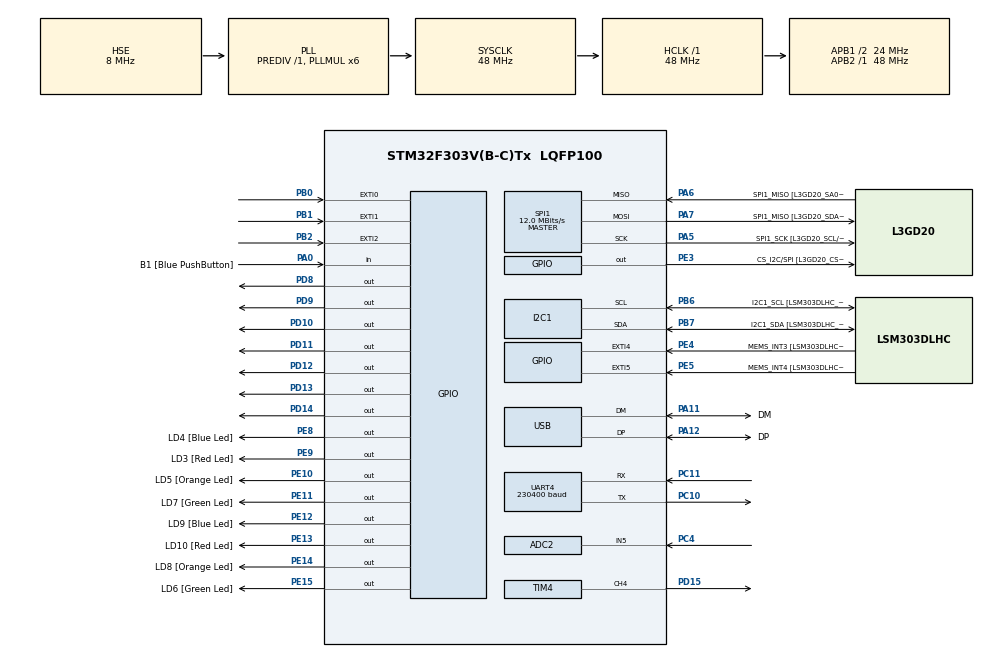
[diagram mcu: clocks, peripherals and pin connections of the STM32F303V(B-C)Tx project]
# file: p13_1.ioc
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ADC2.Channel-0\#ChannelRegularConversion=ADC_CHANNEL_5
ADC2.NbrOfConversionFlag=1
ADC2.Offset-0\#ChannelRegularConversion=0
ADC2.OffsetNumber-0\#ChannelRegularConversion=ADC_OFFSET_NONE
ADC2.Rank-0\#ChannelRegularConversion=1
ADC2.Resolution=ADC_RESOLUTION_10B
ADC2.SamplingTime-0\#ChannelRegularConversion=ADC_SAMPLETIME_601CYCLES_5
ADC2.SamplingTimeOPAMP-0\#ChannelRegularConversion=ADC_SAMPLETIME_19CYCLES_5
I2C1.Timing=0x2000090E
I2C1.Timing-I2C=0x2000090E
Mcu.Family=STM32F3
Mcu.Name=STM32F303V(B-C)Tx
Mcu.Package=LQFP100
NVIC.ADC1_2_IRQn=true\:0\:0\:true\:false\:true\:true\:true\:true
NVIC.EXTI0_IRQn=true\:1\:0\:true\:false\:true\:true\:true\:true
NVIC.EXTI1_IRQn=true\:1\:0\:true\:false\:true\:true\:true\:true
NVIC.EXTI2_TSC_IRQn=true\:1\:0\:true\:false\:true\:true\:true\:true
NVIC.PriorityGroup=NVIC_PRIORITYGROUP_2
NVIC.TIM2_IRQn=true\:0\:0\:false\:false\:true\:true\:true\:true
NVIC.TIM3_IRQn=true\:1\:0\:true\:false\:true\:true\:true\:true
NVIC.UART4_IRQn=true\:0\:0\:false\:false\:true\:true\:true\:true
PA0.GPIO_Label=B1 [Blue PushButton]
PA0.Signal=GPIO_Input
PA11.GPIO_Label=DM
PA11.Mode=Device
PA11.Signal=USB_DM
PA12.GPIO_Label=DP
PA12.Mode=Device
PA12.Signal=USB_DP
PA13.GPIO_Label=SWDIO
PA13.Mode=Serial_Wire
PA13.Signal=SYS_JTMS-SWDIO
PA14.GPIO_Label=SWCLK
PA14.Mode=Serial_Wire
PA14.Signal=SYS_JTCK-SWCLK
PA5.GPIO_Label=SPI1_SCK [L3GD20_SCL/SPC]
PA5.Mode=Full_Duplex_Master
PA5.Signal=SPI1_SCK
PA6.GPIO_Label=SPI1_MISO [L3GD20_SA0/SDO]
PA6.Mode=Full_Duplex_Master
PA6.Signal=SPI1_MISO
PA7.GPIO_Label=SPI1_MISO [L3GD20_SDA/SDI/SDO]
PA7.Mode=Full_Duplex_Master
PA7.Signal=SPI1_MOSI
PB0.GPIO_PuPd=GPIO_PULLUP
PB0.Signal=GPXTI0
PB1.GPIO_PuPd=GPIO_PULLUP
PB1.Signal=GPXTI1
PB2.GPIO_PuPd=GPIO_PULLUP
PB2.Signal=GPXTI2
PB3.GPIO_Label=SWO
PB3.Signal=SYS_JTDO-TRACESWO
PB6.GPIO_Label=I2C1_SCL [LSM303DLHC_SCL]
PB6.GPIO_Pu=GPIO_PULLUP
PB6.Mode=I2C
PB6.Signal=I2C1_SCL
PB7.GPIO_Label=I2C1_SDA [LSM303DLHC_SDA]
PB7.GPIO_Pu=GPIO_PULLUP
PB7.Mode=I2C
PB7.Signal=I2C1_SDA
PC10.Mode=Asynchronous
PC10.Signal=UART4_TX
PC11.Mode=Asynchronous
PC11.Signal=UART4_RX
PC14-OSC32_IN.GPIO_Label=OSC32_IN
PC14-OSC32_IN.Signal=RCC_OSC32_IN
PC15-OSC32_OUT.GPIO_Label=OSC32_OUT
PC15-OSC32_OUT.Signal=RCC_OSC32_OUT
PC4.Mode=IN5-Single-Ended
PC4.Signal=ADC2_IN5
PD10.Signal=GPIO_Output
PD11.Signal=GPIO_Output
PD12.Signal=GPIO_Output
PD13.Signal=GPIO_Output
PD14.Signal=GPIO_Output
PD15.Signal=S_TIM4_CH4
PD8.Signal=GPIO_Output
PD9.Signal=GPIO_Output
PE10.GPIO_Label=LD5 [Orange Led]
PE10.Signal=GPIO_Output
PE11.GPIO_Label=LD7 [Green Led]
PE11.Signal=GPIO_Output
PE12.GPIO_Label=LD9 [Blue Led]
PE12.Signal=GPIO_Output
PE13.GPIO_Label=LD10 [Red Led]
PE13.Signal=GPIO_Output
PE14.GPIO_Label=LD8 [Orange Led]
PE14.Signal=GPIO_Output
PE15.GPIO_Label=LD6 [Green Led]
PE15.Signal=GPIO_Output
PE3.GPIO_Label=CS_I2C/SPI [L3GD20_CS_I2C/SPI]
PE3.Signal=GPIO_Output
PE4.GPIO_Label=MEMS_INT3 [LSM303DLHC_INT1]
PE4.GPIO_ModeDefaultEXTI=GPIO_MODE_EVT_RISING
PE4.Signal=GPXTI4
PE5.GPIO_Label=MEMS_INT4 [LSM303DLHC_INT2]
PE5.GPIO_ModeDefaultEXTI=GPIO_MODE_EVT_RISING
PE5.Signal=GPXTI5
PE8.GPIO_Label=LD4 [Blue Led]
PE8.Signal=GPIO_Output
PE9.GPIO_Label=LD3 [Red Led]
PE9.Signal=GPIO_Output
PF0-OSC_IN.GPIO_Label=OSC_IN
PF0-OSC_IN.Mode=HSE-External-Clock-Source
PF0-OSC_IN.Signal=RCC_OSC_IN
PF1-OSC_OUT.GPIO_Label=OSC_OUT
PF1-OSC_OUT.Signal=RCC_OSC_OUT
ProjectManager.HeapSize=0x200
ProjectManager.StackSize=0x400
ProjectManager.TargetToolchain=STM32CubeIDE
RCC.AHBFreq_Value=48000000
RCC.APB1CLKDivider=RCC_HCLK_DIV2
RCC.APB1Freq_Value=24000000
RCC.APB1TimFreq_Value=48000000
RCC.APB2Freq_Value=48000000
RCC.APB2TimFreq_Value=48000000
RCC.CortexFreq_Value=48000000
RCC.HCLKFreq_Value=48000000
RCC.HSE_VALUE=8000000
RCC.HSI_VALUE=8000000
RCC.LSE_VALUE=32768
RCC.PLLMUL=RCC_PLL_MUL6
RCC.SYSCLKFreq_VALUE=48000000
RCC.SYSCLKSourceVirtual=RCC_SYSCLKSOURCE_PLLCLK
RCC.USBFreq_Value=48000000
SH.S_TIM4_CH4.0=TIM4_CH4,PWM Generation4 CH4
SPI1.BaudRatePrescaler=SPI_BAUDRATEPRESCALER_4
SPI1.BaudRatePrescaler-Full_Duplex_Master=SPI_BAUDRATEPRESCALER_2
SPI1.CalculateBaudRate=12.0 MBits/s
SPI1.CalculateBaudRate-Full_Duplex_Master=24.0 MBits/s
SPI1.Direction=SPI_DIRECTION_2LINES
SPI1.Mode=SPI_MODE_MASTER
SPI1.Mode-Full_Duplex_Master=SPI_MODE_MASTER
SPI1.VirtualType=VM_MASTER
TIM2.Period=99
TIM2.Prescaler=480-1
TIM3.Period=99
TIM3.Prescaler=479
TIM4.Channel-PWM\ Generation4\ CH4=TIM_CHANNEL_4
UART4.BaudRate=230400
VP_TIM2_VS_ClockSourceINT.Mode=Internal
VP_TIM3_VS_ClockSourceINT.Mode=Internal
VP_TIM4_VS_ClockSourceINT.Mode=Internal
board=STM32F3DISCOVERY

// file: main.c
/* USER CODE BEGIN Header */
/**
  ******************************************************************************
  * @file           : main.c
  * @brief          : Main program body
  ******************************************************************************
  * @attention
  *
  * Copyright (c) 2023 STMicroelectronics.
  * All rights reserved.
  *
  * This software is licensed under terms that can be found in the LICENSE file
  * in the root directory of this software component.
  * If no LICENSE file comes with this software, it is provided AS-IS.
  *
  ******************************************************************************
  */
/* USER CODE END Header */
#include "main.h"

/* USER CODE BEGIN Includes */
#include <stdbool.h>
#include "string.h"

/* USER CODE END Includes */

ADC_HandleTypeDef hadc2;

I2C_HandleTypeDef hi2c1;

SPI_HandleTypeDef hspi1;

TIM_HandleTypeDef htim2;
TIM_HandleTypeDef htim3;
TIM_HandleTypeDef htim4;

UART_HandleTypeDef huart4;

PCD_HandleTypeDef hpcd_USB_FS;

void SystemClock_Config(void);
static void MX_GPIO_Init(void);
static void MX_I2C1_Init(void);
static void MX_SPI1_Init(void);
static void MX_USB_PCD_Init(void);
static void MX_TIM4_Init(void);
static void MX_ADC2_Init(void);
static void MX_UART4_Init(void);
static void MX_TIM3_Init(void);
static void MX_TIM2_Init(void);

/* USER CODE BEGIN 0 */

TIM_HandleTypeDef *pwm_timer = &htim4; // Point to PWM timer configured in CubeMX
uint32_t pwm_channel = TIM_CHANNEL_4;  // Specify configured PWM channel

int state = 0;
int main_option = 1;

double LDR_buffer[50];
uint8_t LDR_buffer_cnt = 0;
int LDR_degree = 0;

uint8_t volume = 2;

uint8_t uart_cnt = 0;
char uart_buffer[50];
char uart_message[50];
char ch;

bool active_buzzer = false;
bool isMsg = true;
bool setThresh = true;
int threshold = 30;

int time_cnt = 0;

typedef unsigned char byte;

byte close_left_envelope[8] =
{
    0x00,
    0x1F,
    0x14,
    0x12,
    0x11,
    0x10,
    0x1F,
    0x00
};

byte close_right_envelope[8] =
{
    0x00,
    0x1F,
    0x05,
    0x09,
    0x11,
    0x01,
    0x1F,
    0x00
};

byte open_left_envelope[8] =
{
	0x01,
    0x02,
    0x04,
    0x1F,
    0x10,
    0x10,
    0x1F,
    0x00
};

byte open_right_envelope[8] =
{
	0x10,
	0x08,
	0x04,
	0x1F,
	0x01,
	0x01,
	0x1F,
	0x00
};

byte off_lamp[8] =
{
    0x0E,
    0x11,
    0x11,
    0x11,
    0x0A,
    0x0A,
    0x0E,
    0x04
};

byte on_lamp[8] =
{
    0x0E,
    0x1F,
    0x1F,
    0x1F,
    0x0A,
    0x0A,
    0x0E,
    0x04
};

void HAL_GPIO_EXTI_Callback(uint16_t GPIO_Pin)
{
	static uint32_t last_enter = 0;

	if (HAL_GetTick() - last_enter < 200)
		return;

	last_enter = HAL_GetTick();

	if(state == 0)
	{
		if(GPIO_Pin == GPIO_PIN_0)
		{
			clear_cursor();
			main_option = (main_option == 1) ? 3 : main_option - 1;

		}
		if(GPIO_Pin == GPIO_PIN_1)
		{
			clear();
			state = main_option;

		}
		if(GPIO_Pin == GPIO_PIN_2)
		{
			clear_cursor();
			main_option = (main_option == 3) ? 1 : main_option + 1;
		}
	}

}

void HAL_TIM_PeriodElapsedCallback(TIM_HandleTypeDef *htim)
{

	if (htim->Instance == TIM3)
	{
		monitor_LCD();
	    switch_state();
	}
	if (htim->Instance == TIM2)
	{
		time_cnt += 1;

		if (active_buzzer)
		{
			PWM_Change_Tone(440, volume);
		}

		if(time_cnt == 1000)
		{
			time_cnt = 0;
		}

		HAL_ADC_Start_IT(&hadc2);
	}
}

void HAL_ADC_ConvCpltCallback(ADC_HandleTypeDef *hadc)
{
	if (hadc->Instance == ADC2) // LDR
	{
		double LDR_deg = HAL_ADC_GetValue(&hadc2);

		LDR_buffer[LDR_buffer_cnt] = LDR_deg;
		LDR_buffer_cnt++;

		if(LDR_buffer_cnt == 10)
		{
			double sum_LDR = 0;
			for(int i = 0; i < 10; i++)
			{
				sum_LDR += LDR_buffer[i];
			}
			LDR_deg = sum_LDR / 10.0;
			LDR_buffer_cnt = 0;

			LDR_degree = (int) 200 * ((double)LDR_deg / 1023.0);

			if(LDR_degree >= threshold)
			{
				active_buzzer = true;
			}
			else if(LDR_degree < threshold && active_buzzer)
			{
				active_buzzer = false;
				PWM_Change_Tone(0, 0);

			}

		}

	}
}

void PWM_Start()
{
  HAL_TIM_PWM_Start(pwm_timer, pwm_channel);
}

void PWM_Change_Tone(uint16_t pwm_freq, uint16_t volume) // pwm_freq (1 - 20000), volume (0 - 1000)
{

  if (pwm_freq == 0 || pwm_freq > 20000)
  {
    __HAL_TIM_SET_COMPARE(pwm_timer, pwm_channel, 0);
  }
  else
  {
    const uint32_t internal_clock_freq = HAL_RCC_GetSysClockFreq();
	const uint16_t prescaler = 1 + internal_clock_freq / pwm_freq / 60000;
    const uint32_t timer_clock = internal_clock_freq / prescaler;
    const uint32_t period_cycles = timer_clock / pwm_freq;
    const uint32_t pulse_width = volume * period_cycles / 1000 / 2;

    pwm_timer->Instance->PSC = prescaler - 1;
    pwm_timer->Instance->ARR = period_cycles - 1;
    pwm_timer->Instance->EGR = TIM_EGR_UG;
    __HAL_TIM_SET_COMPARE(pwm_timer, pwm_channel, pulse_width); // pwm_timer->Instance->CCR2 = pulse_width;
  }

}

bool check_uart_thresh()
{
	if(uart_buffer[0] == 'l' && uart_buffer[1] == 'i' && uart_buffer[2] == 'g' && uart_buffer[3] == 'h' && uart_buffer[4] == 't' && uart_buffer[5] == ':')
	{
		return true;
	}

	return false;
}

void HAL_UART_RxCpltCallback(UART_HandleTypeDef *huart)
{
	uart_buffer[uart_cnt] = ch;
	uart_cnt++;

	if(ch == ' ')
	{
		HAL_UART_Transmit(&huart4, "\n", 1, HAL_MAX_DELAY);

		if(isMsg)
		{
			memmove(uart_message, uart_buffer, strlen(uart_buffer) + 1);
			uart_cnt = 0;
			isMsg = false;
		}
		else if(check_uart_thresh())
		{
			switch(uart_cnt)
			{
			case 8:
				threshold = uart_buffer[6] - 48;
				break;
			case 9:
				threshold = (uart_buffer[6] - 48) * 10 + (uart_buffer[7] - 48);
				break;
			case 10:
				threshold = (uart_buffer[6] - 48) * 100 + (uart_buffer[7] - 48) * 10 + (uart_buffer[8] - 48);
				break;
			}
			uart_cnt = 0;

		}
	}

	HAL_UART_Receive_IT(&huart4, &ch, 1);

}

void clear_cursor()
{
	setCursor(0,0);
	print(" ");
	setCursor(0,1);
	print(" ");
	setCursor(0,2);
	print(" ");
}

void monitor_LCD()
{
	if(state == 0) //main page
	{
		char light[30];
		sprintf(light, "1-Light");
		setCursor(2,0);
		print(light);

		char msg[30];
		sprintf(msg, "2-Message");
		setCursor(2,1);
		print(msg);

		char settings[30];
		sprintf(settings, "3-Settings");
		setCursor(2,2);
		print(settings);

		switch(main_option)
		{
		case 1:
			setCursor(0,0);
			break;
		case 2:
			setCursor(0,1);
			break;
		case 3:
			setCursor(0,2);
			break;
		}

		print(">");
	}
	else if(state == 1)
	{
		if(time_cnt < 500)
		{
			setCursor(0,0);
			write(2);
		}

		int _light = (int) (((double) LDR_degree / 200.0) * 100);
		char light[30];
		sprintf(light, " Light : %d%% ", _light);
		setCursor(1,0);
		print(light);
		if(time_cnt >= 500)
		{
			setCursor(0,0);
			write(3);
		}

		int _threshold = (int) (((double) threshold / 200.0) * 100);
		char critical[50];
		sprintf(critical, "Critical Light > %d%%", _threshold);
		setCursor(0,2);
		print(critical);

	}
	else if(state == 2)
	{
		char message[50];
		if(time_cnt < 500)
		{
			setCursor(0,0);
			write(0);
			setCursor(1,0);
			write(1);
		}
		sprintf(message, " Message : %s", uart_message);
		setCursor(2,0);
	    print(message);
	    if(time_cnt >= 500)
	    {
	    	setCursor(0,0);
			write(4);
			setCursor(1,0);
			write(5);
	    }
	}
	else if(state == 3)
	{
		if(setThresh)
		{
			HAL_UART_Transmit(&huart4, "Set the threshold : ",20 , HAL_MAX_DELAY);
			setThresh = false;
		}

		char setting[50];
		sprintf(setting, " Threshold : %d", threshold);
		setCursor(0,0);
	    print(setting);

	}
}

void switch_state()
{
	if(HAL_GPIO_ReadPin(GPIOA, GPIO_PIN_0))
	{
		clear();
		state = (state == 3) ? 1 : state + 1;
	}
}

/* USER CODE END 0 */

int main(void)
{

  /* MCU Configuration--------------------------------------------------------*/

  /* Reset of all peripherals, Initializes the Flash interface and the Systick. */
  HAL_Init();

  /* Configure the system clock */
  SystemClock_Config();

  /* Initialize all configured peripherals */
  MX_GPIO_Init();
  MX_I2C1_Init();
  MX_SPI1_Init();
  MX_USB_PCD_Init();
  MX_TIM4_Init();
  MX_ADC2_Init();
  MX_UART4_Init();
  MX_TIM3_Init();
  MX_TIM2_Init();
  /* USER CODE BEGIN 2 */
    LiquidCrystal(GPIOD, GPIO_PIN_8, GPIO_PIN_9, GPIO_PIN_10, GPIO_PIN_11, GPIO_PIN_12, GPIO_PIN_13, GPIO_PIN_14);
    begin(20,4);
    createChar(0, close_left_envelope);
    createChar(1, close_right_envelope);
    createChar(2, off_lamp);
    createChar(3, on_lamp);
    createChar(4, open_left_envelope);
	createChar(5, open_right_envelope);
    HAL_TIM_Base_Start_IT(&htim2);
    HAL_TIM_Base_Start_IT(&htim3);
    PWM_Start();

    HAL_UART_Receive_IT(&huart4, &ch, 1);

  /* USER CODE END 2 */

  /* Infinite loop */
  while (1)
  {

  }
}

void SystemClock_Config(void)
{
  RCC_OscInitTypeDef RCC_OscInitStruct = {0};
  RCC_ClkInitTypeDef RCC_ClkInitStruct = {0};
  RCC_PeriphCLKInitTypeDef PeriphClkInit = {0};

  /** Initializes the RCC Oscillators according to the specified parameters
  * in the RCC_OscInitTypeDef structure.
  */
  RCC_OscInitStruct.OscillatorType = RCC_OSCILLATORTYPE_HSI|RCC_OSCILLATORTYPE_HSE;
  RCC_OscInitStruct.HSEState = RCC_HSE_BYPASS;
  RCC_OscInitStruct.HSEPredivValue = RCC_HSE_PREDIV_DIV1;
  RCC_OscInitStruct.HSIState = RCC_HSI_ON;
  RCC_OscInitStruct.HSICalibrationValue = RCC_HSICALIBRATION_DEFAULT;
  RCC_OscInitStruct.PLL.PLLState = RCC_PLL_ON;
  RCC_OscInitStruct.PLL.PLLSource = RCC_PLLSOURCE_HSE;
  RCC_OscInitStruct.PLL.PLLMUL = RCC_PLL_MUL6;
  if (HAL_RCC_OscConfig(&RCC_OscInitStruct) != HAL_OK)
  {
    Error_Handler();
  }

  /** Initializes the CPU, AHB and APB buses clocks
  */
  RCC_ClkInitStruct.ClockType = RCC_CLOCKTYPE_HCLK|RCC_CLOCKTYPE_SYSCLK
                              |RCC_CLOCKTYPE_PCLK1|RCC_CLOCKTYPE_PCLK2;
  RCC_ClkInitStruct.SYSCLKSource = RCC_SYSCLKSOURCE_PLLCLK;
  RCC_ClkInitStruct.AHBCLKDivider = RCC_SYSCLK_DIV1;
  RCC_ClkInitStruct.APB1CLKDivider = RCC_HCLK_DIV2;
  RCC_ClkInitStruct.APB2CLKDivider = RCC_HCLK_DIV1;

  if (HAL_RCC_ClockConfig(&RCC_ClkInitStruct, FLASH_LATENCY_1) != HAL_OK)
  {
    Error_Handler();
  }
  PeriphClkInit.PeriphClockSelection = RCC_PERIPHCLK_USB|RCC_PERIPHCLK_UART4
                              |RCC_PERIPHCLK_I2C1|RCC_PERIPHCLK_ADC12;
  PeriphClkInit.Uart4ClockSelection = RCC_UART4CLKSOURCE_PCLK1;
  PeriphClkInit.Adc12ClockSelection = RCC_ADC12PLLCLK_DIV1;
  PeriphClkInit.I2c1ClockSelection = RCC_I2C1CLKSOURCE_HSI;
  PeriphClkInit.USBClockSelection = RCC_USBCLKSOURCE_PLL;
  if (HAL_RCCEx_PeriphCLKConfig(&PeriphClkInit) != HAL_OK)
  {
    Error_Handler();
  }
}

static void MX_ADC2_Init(void)
{

  ADC_ChannelConfTypeDef sConfig = {0};

  /** Common config
  */
  hadc2.Instance = ADC2;
  hadc2.Init.ClockPrescaler = ADC_CLOCK_ASYNC_DIV1;
  hadc2.Init.Resolution = ADC_RESOLUTION_10B;
  hadc2.Init.ScanConvMode = ADC_SCAN_DISABLE;
  hadc2.Init.ContinuousConvMode = DISABLE;
  hadc2.Init.DiscontinuousConvMode = DISABLE;
  hadc2.Init.ExternalTrigConvEdge = ADC_EXTERNALTRIGCONVEDGE_NONE;
  hadc2.Init.ExternalTrigConv = ADC_SOFTWARE_START;
  hadc2.Init.DataAlign = ADC_DATAALIGN_RIGHT;
  hadc2.Init.NbrOfConversion = 1;
  hadc2.Init.DMAContinuousRequests = DISABLE;
  hadc2.Init.EOCSelection = ADC_EOC_SINGLE_CONV;
  hadc2.Init.LowPowerAutoWait = DISABLE;
  hadc2.Init.Overrun = ADC_OVR_DATA_OVERWRITTEN;
  if (HAL_ADC_Init(&hadc2) != HAL_OK)
  {
    Error_Handler();
  }

  /** Configure Regular Channel
  */
  sConfig.Channel = ADC_CHANNEL_5;
  sConfig.Rank = ADC_REGULAR_RANK_1;
  sConfig.SingleDiff = ADC_SINGLE_ENDED;
  sConfig.SamplingTime = ADC_SAMPLETIME_601CYCLES_5;
  sConfig.OffsetNumber = ADC_OFFSET_NONE;
  sConfig.Offset = 0;
  if (HAL_ADC_ConfigChannel(&hadc2, &sConfig) != HAL_OK)
  {
    Error_Handler();
  }

}

static void MX_I2C1_Init(void)
{

  hi2c1.Instance = I2C1;
  hi2c1.Init.Timing = 0x2000090E;
  hi2c1.Init.OwnAddress1 = 0;
  hi2c1.Init.AddressingMode = I2C_ADDRESSINGMODE_7BIT;
  hi2c1.Init.DualAddressMode = I2C_DUALADDRESS_DISABLE;
  hi2c1.Init.OwnAddress2 = 0;
  hi2c1.Init.OwnAddress2Masks = I2C_OA2_NOMASK;
  hi2c1.Init.GeneralCallMode = I2C_GENERALCALL_DISABLE;
  hi2c1.Init.NoStretchMode = I2C_NOSTRETCH_DISABLE;
  if (HAL_I2C_Init(&hi2c1) != HAL_OK)
  {
    Error_Handler();
  }

  /** Configure Analogue filter
  */
  if (HAL_I2CEx_ConfigAnalogFilter(&hi2c1, I2C_ANALOGFILTER_ENABLE) != HAL_OK)
  {
    Error_Handler();
  }

  /** Configure Digital filter
  */
  if (HAL_I2CEx_ConfigDigitalFilter(&hi2c1, 0) != HAL_OK)
  {
    Error_Handler();
  }

}

static void MX_SPI1_Init(void)
{

  /* SPI1 parameter configuration*/
  hspi1.Instance = SPI1;
  hspi1.Init.Mode = SPI_MODE_MASTER;
  hspi1.Init.Direction = SPI_DIRECTION_2LINES;
  hspi1.Init.DataSize = SPI_DATASIZE_4BIT;
  hspi1.Init.CLKPolarity = SPI_POLARITY_LOW;
  hspi1.Init.CLKPhase = SPI_PHASE_1EDGE;
  hspi1.Init.NSS = SPI_NSS_SOFT;
  hspi1.Init.BaudRatePrescaler = SPI_BAUDRATEPRESCALER_4;
  hspi1.Init.FirstBit = SPI_FIRSTBIT_MSB;
  hspi1.Init.TIMode = SPI_TIMODE_DISABLE;
  hspi1.Init.CRCCalculation = SPI_CRCCALCULATION_DISABLE;
  hspi1.Init.CRCPolynomial = 7;
  hspi1.Init.CRCLength = SPI_CRC_LENGTH_DATASIZE;
  hspi1.Init.NSSPMode = SPI_NSS_PULSE_ENABLE;
  if (HAL_SPI_Init(&hspi1) != HAL_OK)
  {
    Error_Handler();
  }

}

static void MX_TIM2_Init(void)
{

  TIM_ClockConfigTypeDef sClockSourceConfig = {0};
  TIM_MasterConfigTypeDef sMasterConfig = {0};

  htim2.Instance = TIM2;
  htim2.Init.Prescaler = 480-1;
  htim2.Init.CounterMode = TIM_COUNTERMODE_UP;
  htim2.Init.Period = 99;
  htim2.Init.ClockDivision = TIM_CLOCKDIVISION_DIV1;
  htim2.Init.AutoReloadPreload = TIM_AUTORELOAD_PRELOAD_DISABLE;
  if (HAL_TIM_Base_Init(&htim2) != HAL_OK)
  {
    Error_Handler();
  }
  sClockSourceConfig.ClockSource = TIM_CLOCKSOURCE_INTERNAL;
  if (HAL_TIM_ConfigClockSource(&htim2, &sClockSourceConfig) != HAL_OK)
  {
    Error_Handler();
  }
  sMasterConfig.MasterOutputTrigger = TIM_TRGO_RESET;
  sMasterConfig.MasterSlaveMode = TIM_MASTERSLAVEMODE_DISABLE;
  if (HAL_TIMEx_MasterConfigSynchronization(&htim2, &sMasterConfig) != HAL_OK)
  {
    Error_Handler();
  }

}

static void MX_TIM3_Init(void)
{

  TIM_ClockConfigTypeDef sClockSourceConfig = {0};
  TIM_MasterConfigTypeDef sMasterConfig = {0};

  htim3.Instance = TIM3;
  htim3.Init.Prescaler = 479;
  htim3.Init.CounterMode = TIM_COUNTERMODE_UP;
  htim3.Init.Period = 99;
  htim3.Init.ClockDivision = TIM_CLOCKDIVISION_DIV1;
  htim3.Init.AutoReloadPreload = TIM_AUTORELOAD_PRELOAD_DISABLE;
  if (HAL_TIM_Base_Init(&htim3) != HAL_OK)
  {
    Error_Handler();
  }
  sClockSourceConfig.ClockSource = TIM_CLOCKSOURCE_INTERNAL;
  if (HAL_TIM_ConfigClockSource(&htim3, &sClockSourceConfig) != HAL_OK)
  {
    Error_Handler();
  }
  sMasterConfig.MasterOutputTrigger = TIM_TRGO_RESET;
  sMasterConfig.MasterSlaveMode = TIM_MASTERSLAVEMODE_DISABLE;
  if (HAL_TIMEx_MasterConfigSynchronization(&htim3, &sMasterConfig) != HAL_OK)
  {
    Error_Handler();
  }

}

static void MX_TIM4_Init(void)
{

  TIM_ClockConfigTypeDef sClockSourceConfig = {0};
  TIM_MasterConfigTypeDef sMasterConfig = {0};
  TIM_OC_InitTypeDef sConfigOC = {0};

  htim4.Instance = TIM4;
  htim4.Init.Prescaler = 0;
  htim4.Init.CounterMode = TIM_COUNTERMODE_UP;
  htim4.Init.Period = 65535;
  htim4.Init.ClockDivision = TIM_CLOCKDIVISION_DIV1;
  htim4.Init.AutoReloadPreload = TIM_AUTORELOAD_PRELOAD_DISABLE;
  if (HAL_TIM_Base_Init(&htim4) != HAL_OK)
  {
    Error_Handler();
  }
  sClockSourceConfig.ClockSource = TIM_CLOCKSOURCE_INTERNAL;
  if (HAL_TIM_ConfigClockSource(&htim4, &sClockSourceConfig) != HAL_OK)
  {
    Error_Handler();
  }
  if (HAL_TIM_PWM_Init(&htim4) != HAL_OK)
  {
    Error_Handler();
  }
  sMasterConfig.MasterOutputTrigger = TIM_TRGO_RESET;
  sMasterConfig.MasterSlaveMode = TIM_MASTERSLAVEMODE_DISABLE;
  if (HAL_TIMEx_MasterConfigSynchronization(&htim4, &sMasterConfig) != HAL_OK)
  {
    Error_Handler();
  }
  sConfigOC.OCMode = TIM_OCMODE_PWM1;
  sConfigOC.Pulse = 0;
  sConfigOC.OCPolarity = TIM_OCPOLARITY_HIGH;
  sConfigOC.OCFastMode = TIM_OCFAST_DISABLE;
  if (HAL_TIM_PWM_ConfigChannel(&htim4, &sConfigOC, TIM_CHANNEL_4) != HAL_OK)
  {
    Error_Handler();
  }
  HAL_TIM_MspPostInit(&htim4);

}

static void MX_UART4_Init(void)
{

  huart4.Instance = UART4;
  huart4.Init.BaudRate = 230400;
  huart4.Init.WordLength = UART_WORDLENGTH_8B;
  huart4.Init.StopBits = UART_STOPBITS_1;
  huart4.Init.Parity = UART_PARITY_NONE;
  huart4.Init.Mode = UART_MODE_TX_RX;
  huart4.Init.HwFlowCtl = UART_HWCONTROL_NONE;
  huart4.Init.OverSampling = UART_OVERSAMPLING_16;
  huart4.Init.OneBitSampling = UART_ONE_BIT_SAMPLE_DISABLE;
  huart4.AdvancedInit.AdvFeatureInit = UART_ADVFEATURE_NO_INIT;
  if (HAL_UART_Init(&huart4) != HAL_OK)
  {
    Error_Handler();
  }

}

static void MX_USB_PCD_Init(void)
{

  hpcd_USB_FS.Instance = USB;
  hpcd_USB_FS.Init.dev_endpoints = 8;
  hpcd_USB_FS.Init.speed = PCD_SPEED_FULL;
  hpcd_USB_FS.Init.phy_itface = PCD_PHY_EMBEDDED;
  hpcd_USB_FS.Init.low_power_enable = DISABLE;
  hpcd_USB_FS.Init.battery_charging_enable = DISABLE;
  if (HAL_PCD_Init(&hpcd_USB_FS) != HAL_OK)
  {
    Error_Handler();
  }

}

static void MX_GPIO_Init(void)
{
  GPIO_InitTypeDef GPIO_InitStruct = {0};

  /* GPIO Ports Clock Enable */
  __HAL_RCC_GPIOE_CLK_ENABLE();
  __HAL_RCC_GPIOC_CLK_ENABLE();
  __HAL_RCC_GPIOF_CLK_ENABLE();
  __HAL_RCC_GPIOA_CLK_ENABLE();
  __HAL_RCC_GPIOB_CLK_ENABLE();
  __HAL_RCC_GPIOD_CLK_ENABLE();

  /*Configure GPIO pin Output Level */
  HAL_GPIO_WritePin(GPIOE, CS_I2C_SPI_Pin|LD4_Pin|LD3_Pin|LD5_Pin
                          |LD7_Pin|LD9_Pin|LD10_Pin|LD8_Pin
                          |LD6_Pin, GPIO_PIN_RESET);

  /*Configure GPIO pin Output Level */
  HAL_GPIO_WritePin(GPIOD, GPIO_PIN_8|GPIO_PIN_9|GPIO_PIN_10|GPIO_PIN_11
                          |GPIO_PIN_12|GPIO_PIN_13|GPIO_PIN_14, GPIO_PIN_RESET);

  /*Configure GPIO pins : CS_I2C_SPI_Pin LD4_Pin LD3_Pin LD5_Pin
                           LD7_Pin LD9_Pin LD10_Pin LD8_Pin
                           LD6_Pin */
  GPIO_InitStruct.Pin = CS_I2C_SPI_Pin|LD4_Pin|LD3_Pin|LD5_Pin
                          |LD7_Pin|LD9_Pin|LD10_Pin|LD8_Pin
                          |LD6_Pin;
  GPIO_InitStruct.Mode = GPIO_MODE_OUTPUT_PP;
  GPIO_InitStruct.Pull = GPIO_NOPULL;
  GPIO_InitStruct.Speed = GPIO_SPEED_FREQ_LOW;
  HAL_GPIO_Init(GPIOE, &GPIO_InitStruct);

  /*Configure GPIO pins : MEMS_INT3_Pin MEMS_INT4_Pin */
  GPIO_InitStruct.Pin = MEMS_INT3_Pin|MEMS_INT4_Pin;
  GPIO_InitStruct.Mode = GPIO_MODE_EVT_RISING;
  GPIO_InitStruct.Pull = GPIO_NOPULL;
  HAL_GPIO_Init(GPIOE, &GPIO_InitStruct);

  /*Configure GPIO pin : B1_Pin */
  GPIO_InitStruct.Pin = B1_Pin;
  GPIO_InitStruct.Mode = GPIO_MODE_INPUT;
  GPIO_InitStruct.Pull = GPIO_NOPULL;
  HAL_GPIO_Init(B1_GPIO_Port, &GPIO_InitStruct);

  /*Configure GPIO pins : PB0 PB1 PB2 */
  GPIO_InitStruct.Pin = GPIO_PIN_0|GPIO_PIN_1|GPIO_PIN_2;
  GPIO_InitStruct.Mode = GPIO_MODE_IT_RISING;
  GPIO_InitStruct.Pull = GPIO_PULLUP;
  HAL_GPIO_Init(GPIOB, &GPIO_InitStruct);

  /*Configure GPIO pins : PD8 PD9 PD10 PD11
                           PD12 PD13 PD14 */
  GPIO_InitStruct.Pin = GPIO_PIN_8|GPIO_PIN_9|GPIO_PIN_10|GPIO_PIN_11
                          |GPIO_PIN_12|GPIO_PIN_13|GPIO_PIN_14;
  GPIO_InitStruct.Mode = GPIO_MODE_OUTPUT_PP;
  GPIO_InitStruct.Pull = GPIO_NOPULL;
  GPIO_InitStruct.Speed = GPIO_SPEED_FREQ_LOW;
  HAL_GPIO_Init(GPIOD, &GPIO_InitStruct);

  /* EXTI interrupt init*/
  HAL_NVIC_SetPriority(EXTI0_IRQn, 1, 0);
  HAL_NVIC_EnableIRQ(EXTI0_IRQn);

  HAL_NVIC_SetPriority(EXTI1_IRQn, 1, 0);
  HAL_NVIC_EnableIRQ(EXTI1_IRQn);

  HAL_NVIC_SetPriority(EXTI2_TSC_IRQn, 1, 0);
  HAL_NVIC_EnableIRQ(EXTI2_TSC_IRQn);

}

void Error_Handler(void)
{
  __disable_irq();
  while (1)
  {
  }
}
